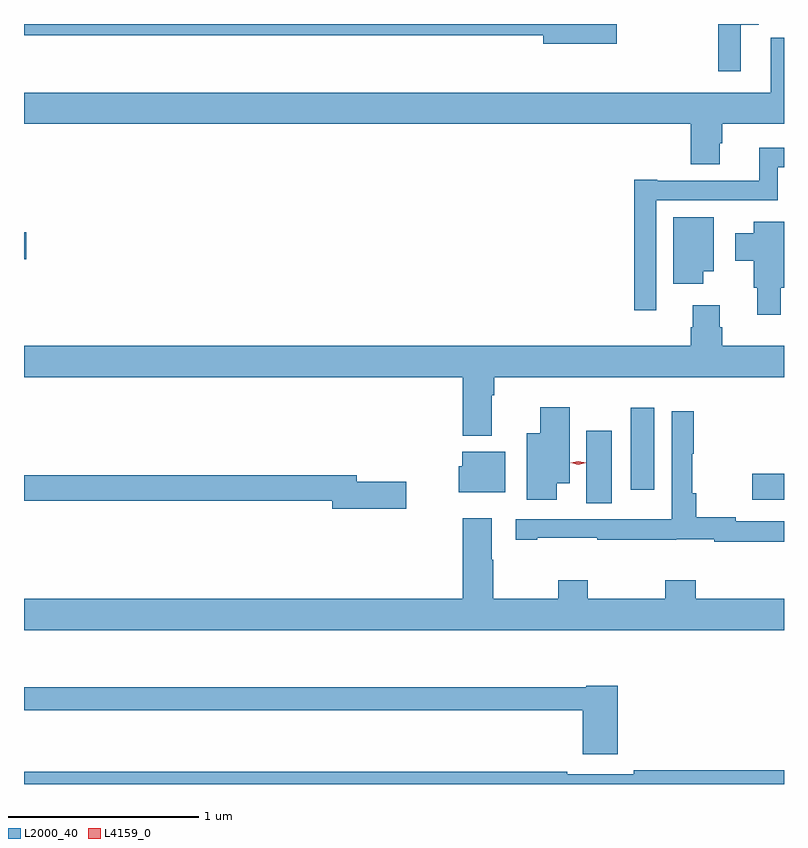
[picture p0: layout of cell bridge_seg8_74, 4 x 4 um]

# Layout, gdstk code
import gdstk
lib = gdstk.Library(unit=1e-6, precision=1e-09)
def R(c, l, rs):  # rectangles x0, y0, x1, y1
    for r in rs: c.add(gdstk.rectangle(r[:2], r[2:], *l))
def P(c, l, *ps):  # polygons
    for p in ps: c.add(gdstk.Polygon(p, *l))
L2000_40 = (2000, 40)
L4159_0 = (4159, 0)

bridge_seg8_74 = lib.new_cell('bridge_seg8_74')
R(bridge_seg8_74, L2000_40, [(1010.504,1103.848,1010.638,1104.229), (1011.378,1103.867,1011.544,1104.002), (1010.738,1103.919,1010.86,1104.349), (1007.544,1105.132,1007.557,1105.274)])
P(bridge_seg8_74, L2000_40, [(1011.316,1106.367),(1011.412,1106.367),(1011.412,1106.37),(1011.198,1106.37),(1011.198,1106.121),(1011.316,1106.121)],
  [(1010.665,1106.37),(1007.544,1106.37),(1007.544,1106.31),(1010.276,1106.31),(1010.276,1106.267),(1010.665,1106.267)],
  [(1011.205,1105.743),(1011.218,1105.743),(1011.218,1105.844),(1011.544,1105.844),(1011.544,1106.297),(1011.473,1106.297),(1011.473,1106.008),(1007.544,1106.008),(1007.544,1105.844),(1011.053,1105.844),(1011.053,1105.631),(1011.205,1105.631)],
  [(1010.871,1105.442),(1011.51,1105.442),(1011.51,1105.616),(1011.544,1105.616),(1011.544,1105.72),(1011.413,1105.72),(1011.413,1105.546),(1010.878,1105.546),(1010.878,1105.549),(1010.755,1105.549),(1010.755,1104.864),(1010.871,1104.864)],
  [(1011.118,1105.07),(1011.175,1105.07),(1011.175,1105.354),(1010.96,1105.354),(1010.96,1105.002),(1011.118,1105.002)],
  [(1011.526,1104.981),(1011.544,1104.981),(1011.544,1105.33),(1011.386,1105.33),(1011.386,1105.27),(1011.287,1105.27),(1011.287,1105.123),(1011.386,1105.123),(1011.386,1104.981),(1011.404,1104.981),(1011.404,1104.84),(1011.526,1104.84)],
  [(1010.005,1104.416),(1010.018,1104.416),(1010.018,1104.512),(1011.544,1104.512),(1011.544,1104.676),(1011.218,1104.676),(1011.218,1104.774),(1011.205,1104.774),(1011.205,1104.889),(1011.065,1104.889),(1011.065,1104.774),(1011.053,1104.774),(1011.053,1104.676),(1007.544,1104.676),(1007.544,1104.512),(1009.853,1104.512),(1009.853,1104.203),(1010.005,1104.203)],
  [(1010.347,1103.954),(1010.416,1103.954),(1010.416,1104.352),(1010.261,1104.352),(1010.261,1104.217),(1010.189,1104.217),(1010.189,1103.865),(1010.347,1103.865)],
  [(1011.544,1103.754),(1011.29,1103.754),(1011.29,1103.774),(1011.082,1103.774),(1011.082,1103.899),(1011.061,1103.899),(1011.061,1104.107),(1011.068,1104.107),(1011.068,1104.331),(1010.952,1104.331),(1010.952,1103.764),(1010.742,1103.764),(1010.742,1103.763),(1010.133,1103.763),(1010.133,1103.655),(1010.245,1103.655),(1010.245,1103.665),(1010.561,1103.665),(1010.561,1103.655),(1010.976,1103.655),(1010.976,1103.657),(1011.178,1103.657),(1011.178,1103.646),(1011.544,1103.646)],
  [(1010.077,1104.118),(1009.85,1104.118),(1009.85,1104.042),(1009.832,1104.042),(1009.832,1103.906),(1010.077,1103.906)],
  [(1009.555,1103.96),(1009.294,1103.96),(1009.294,1103.996),(1007.544,1103.996),(1007.544,1103.86),(1009.166,1103.86),(1009.166,1103.818),(1009.555,1103.818)],
  [(1011.544,1103.344),(1011.08,1103.344),(1011.08,1103.443),(1010.92,1103.443),(1010.92,1103.344),(1010.511,1103.344),(1010.511,1103.443),(1010.356,1103.443),(1010.356,1103.344),(1010.013,1103.344),(1010.013,1103.549),(1010.005,1103.549),(1010.005,1103.77),(1009.853,1103.77),(1009.853,1103.344),(1007.544,1103.344),(1007.544,1103.18),(1011.544,1103.18)],
  [(1010.669,1102.887),(1010.502,1102.887),(1010.502,1102.879),(1007.544,1102.879),(1007.544,1102.758),(1010.486,1102.758),(1010.486,1102.527),(1010.669,1102.527)],
  [(1011.544,1102.442),(1010.752,1102.442),(1010.752,1102.422),(1010.402,1102.422),(1010.402,1102.435),(1007.544,1102.435),(1007.544,1102.37),(1011.544,1102.37)])
P(bridge_seg8_74, L4159_0, [(1010.462,1104.05),(1010.422,1104.06),(1010.421,1104.06),(1010.422,1104.061),(1010.462,1104.07),(1010.502,1104.06),(1010.502,1104.06),(1010.502,1104.06)])

lib.write_gds('bridge_seg8_74.gds')
